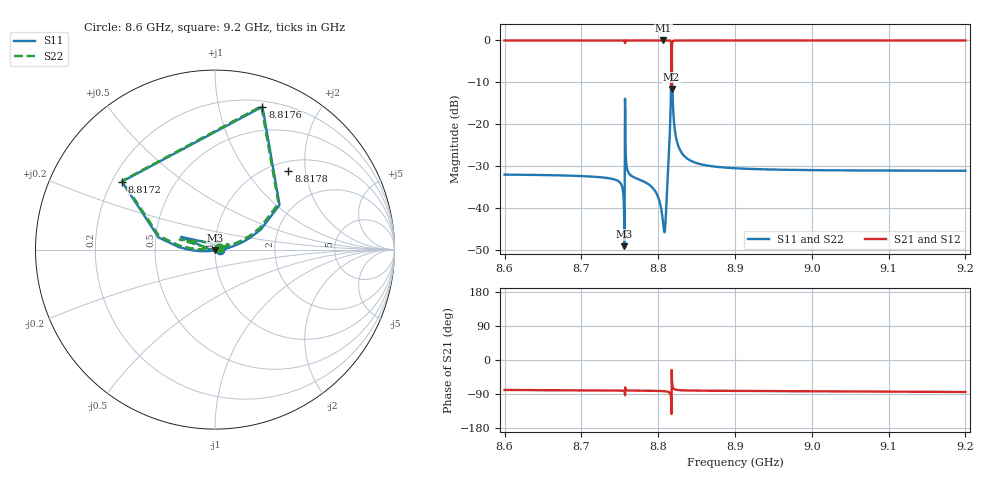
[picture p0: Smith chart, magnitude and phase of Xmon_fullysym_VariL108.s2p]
! Sonnet Data File
! From: emgraph Version : 16.52
! From Project: 171117_Xmon_fullysym
! Data is De-embedded
! Data File Written: 11/26/2017 21:44:47
!< HDATE 11/26/2017 17:24:49
!< MDATE 11/26/2017 17:24:49
!< PARAMS
!< Lj = 11.0
!< Gap = 1.0
!< Pwid = 2000.0
!< Airgap = 6.0
!< Width = 10.0
!< Lj1 = 10.8
!< END PARAMS
# GHZ S MA R 50.90000
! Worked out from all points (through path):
!   3001 points, 8.6 GHz to 9.2 GHz, reference 50.9 ohm
!   highest |S21| = 0.00 dB at 8.8068 GHz (marker M1); lowest = -11.5 dB at 8.8174 GHz (marker M2)
!   lowest |S11| = -49.1 dB at 8.756 GHz (marker M3), VSWR 1.01, Z = 51 - j0.344 ohm
!   |S11| at or under -10 dB: start of sweep to 8.8168 GHz; 8.8183 GHz to end of sweep
!   |S22| runs from -47.1 to -0.9 dB; largest |S21 - S12| = 8.2e-10
!   S11 on the Smith chart (normalised r, x): 8.6 GHz: 1.05, -0.00; 8.8172 GHz: 0.24, +0.31; 8.8176 GHz: 0.25, +1.36; 8.8178 GHz: 1.19, +1.62; 9.2 GHz: 1.06, -0.01
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8.6  0.02516 -0.5  0.9997 -79.0  0.9997 -79.0  0.02517 22.5
!< P1 F=8.6 Eeff=(6.44845572 -2.9799e-5) Z0=(50.9087207 1.17006e-4) R=0.0 C=0.0
!< P2 F=8.6 Eeff=(6.44845572 -2.9799e-5) Z0=(50.9087207 1.17006e-4) R=0.0 C=0.0
8.7  0.02417 -2.2  0.9997 -80.0  0.9997 -80.0  0.02417 22.2
8.7454  0.02165 -4.1  0.9998 -80.6  0.9998 -80.6  0.02165 23.0
8.7534  0.01751 -6.9  0.9998 -80.9  0.9998 -80.9  0.01753 25.3
8.756  0.003528 -72.8  0.9995 -81.9  0.9995 -81.9  0.004433 91.6
8.7596  0.02934 -1.1  0.9995 -80.3  0.9995 -80.3  0.02936 20.8
8.7634  0.02505 -2.8  0.9997 -80.6  0.9997 -80.6  0.02505 21.8
8.8002  0.01335 -14.6  0.9999 -81.6  0.9999 -81.6  0.01336 31.5
8.8068  0.006167 -49.2  0.9999 -82.2  0.9999 -82.2  0.00624 65.3
8.8106  0.01081 -144.8  0.9998 -82.9  0.9998 -82.9  0.0109 158.0
8.8154  0.09287 -175.3  0.9946 -87.8  0.9946 -87.8  0.09299 178.4
8.8172  0.6421 143.8  0.7218 -122.3  0.7218 -122.3  0.6427 143.3
8.8174  0.8974 112.3  0.2646 -142.5  0.2646 -142.5  0.8981 112.3
8.8176  0.839 71.6  0.4378 -26.3  0.4378 -26.3  0.8396 72.1
8.8178  0.5979 46.9  0.7692 -45.8  0.7692 -45.8  0.5983 47.8
8.8206  0.1053 10.9  0.994 -76.5  0.994 -76.5  0.1054 16.7
8.8242  0.06349 6.4  0.9979 -78.9  0.9979 -78.9  0.06351 16.0
8.8338  0.04201 2.6  0.9991 -80.2  0.9991 -80.2  0.04201 17.0
8.9002  0.02996 -1.8  0.9995 -81.5  0.9995 -81.5  0.02996 18.7
9.0002  0.02844 -3.6  0.9996 -82.6  0.9996 -82.6  0.02844 18.4
9.1  0.0281 -4.8  0.9996 -83.5  0.9996 -83.5  0.0281 17.8
9.2  0.028 -6.0  0.9996 -84.4  0.9996 -84.4  0.028 17.2
